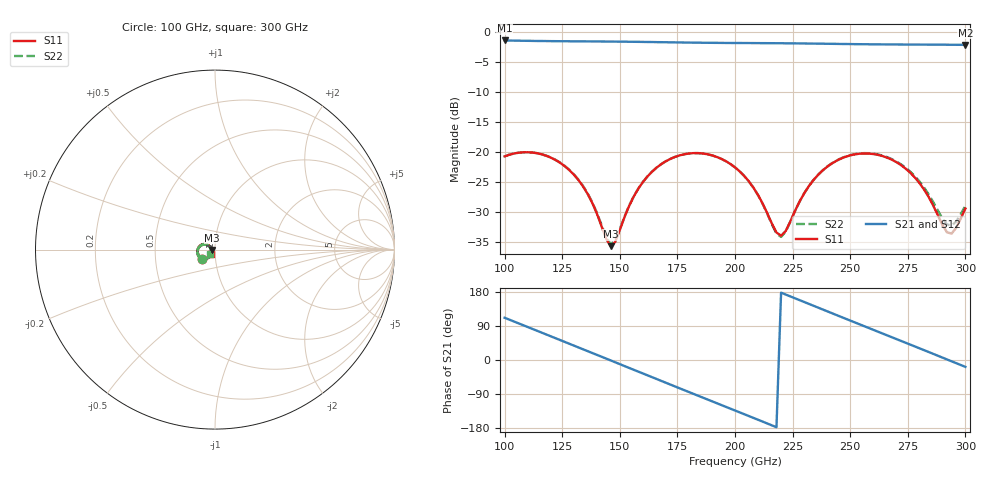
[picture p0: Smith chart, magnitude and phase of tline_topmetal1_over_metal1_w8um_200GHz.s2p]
#  GHZ S DB R 50
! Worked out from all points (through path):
!   101 points, 100 GHz to 300 GHz, reference 50 ohm
!   highest |S21| = -1.38 dB at 100 GHz (marker M1); lowest = -2.1 dB at 300 GHz (marker M2)
!   group delay of S21, straight-line fit = 6.8 ps
!   lowest |S11| = -35.7 dB at 146 GHz (marker M3), VSWR 1.03, Z = 48.4 - j0.202 ohm
!   |S11| at or under -10 dB: start of sweep to end of sweep
!   |S22| runs from -35.3 to -20.0 dB; largest |S21 - S12| = 9.2e-14
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100  -20.70 -144.0  -1.38 111.5  -1.38 111.5  -20.69 -144.0
108  -20.02 -161.6  -1.43 91.9  -1.43 91.9  -20.01 -161.5
116  -20.35 -179.0  -1.47 72.4  -1.47 72.4  -20.32 -178.8
126  -22.30 160.8  -1.51 48.0  -1.51 48.0  -22.26 161.1
134  -25.68 148.4  -1.53 28.4  -1.53 28.4  -25.61 148.9
146  -35.66 -172.7  -1.56 -1.1  -1.56 -1.1  -35.32 -173.2
148  -34.97 -149.5  -1.57 -6.0  -1.57 -6.0  -34.72 -150.7
158  -26.10 -124.9  -1.61 -30.6  -1.61 -30.6  -26.08 -125.5
168  -21.99 -140.0  -1.66 -55.1  -1.66 -55.1  -21.98 -140.3
176  -20.53 -155.6  -1.71 -74.7  -1.71 -74.7  -20.52 -155.8
184  -20.16 -171.8  -1.75 -94.2  -1.75 -94.2  -20.15 -171.9
200  -22.53 157.8  -1.80 -133.3  -1.80 -133.3  -22.53 157.7
210  -27.13 147.2  -1.82 -157.7  -1.82 -157.7  -27.17 147.0
220  -33.92 -169.9  -1.84 177.7  -1.84 177.7  -34.11 -169.2
234  -24.68 -133.7  -1.90 143.3  -1.90 143.3  -24.65 -132.7
244  -21.44 -149.0  -1.95 118.8  -1.95 118.8  -21.40 -147.9
252  -20.36 -164.0  -1.99 99.3  -1.99 99.3  -20.31 -162.9
268  -21.24 165.4  -2.04 60.3  -2.04 60.3  -21.14 167.2
280  -25.11 147.8  -2.06 31.0  -2.06 31.0  -24.85 150.7
292  -33.35 174.8  -2.09 1.5  -2.09 1.5  -32.03 175.9
296  -32.60 -151.8  -2.10 -8.3  -2.10 -8.3  -31.56 -156.2
300  -29.40 -135.8  -2.11 -18.1  -2.11 -18.1  -28.92 -140.7
